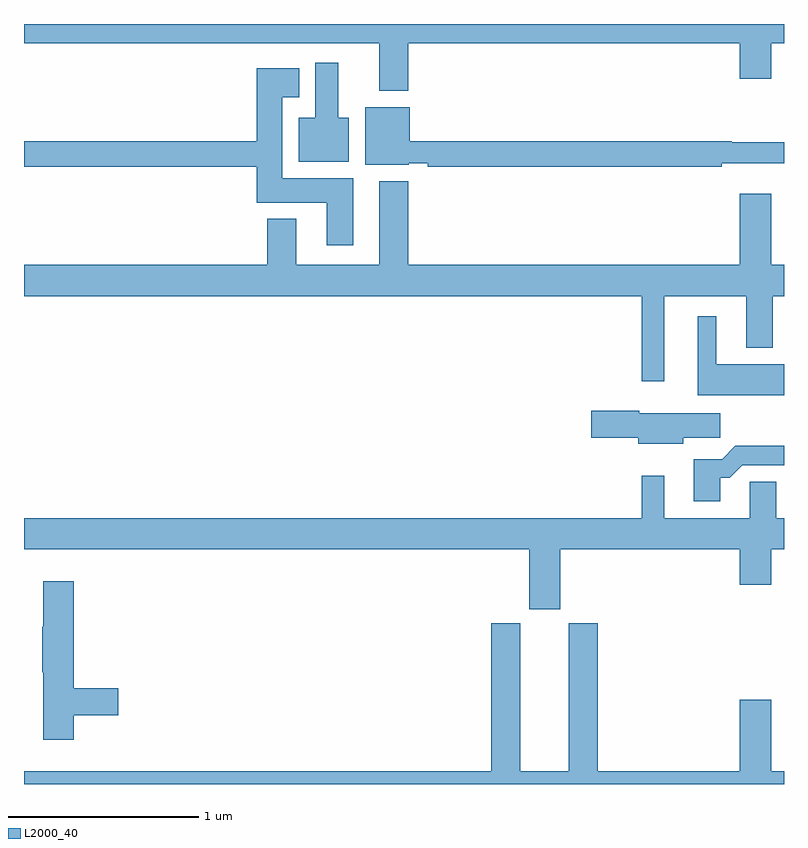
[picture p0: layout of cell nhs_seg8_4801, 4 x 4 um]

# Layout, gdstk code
import gdstk
lib = gdstk.Library(unit=1e-6, precision=1e-09)
def P(c, l, *ps):  # polygons
    for p in ps: c.add(gdstk.Polygon(p, *l))
L2000_40 = (2000, 40)

nhs_seg8_4801 = lib.new_cell('nhs_seg8_4801')
P(nhs_seg8_4801, L2000_40, [(403.022,1149.8),(404.768,1149.8),(404.768,1149.612),(404.932,1149.612),(404.932,1149.8),(405,1149.8),(405,1149.9),(401,1149.9),(401,1149.8),(402.869,1149.8),(402.869,1149.548),(403.022,1149.548)],
  [(402.709,1149.406),(402.655,1149.406),(402.655,1149.697),(402.533,1149.697),(402.533,1149.406),(402.446,1149.406),(402.446,1149.176),(402.709,1149.176)],
  [(402.733,1149.088),(402.358,1149.088),(402.358,1149.515),(402.448,1149.515),(402.448,1149.667),(402.224,1149.667),(402.224,1149.284),(401,1149.284),(401,1149.148),(402.224,1149.148),(402.224,1148.96),(402.593,1148.96),(402.593,1148.736),(402.733,1148.736)],
  [(404.672,1149.167),(405,1149.167),(405,1149.277),(404.726,1149.277),(404.726,1149.284),(403.03,1149.284),(403.03,1149.463),(402.797,1149.463),(402.797,1149.158),(403.026,1149.158),(403.026,1149.168),(403.126,1149.168),(403.126,1149.148),(404.672,1149.148)],
  [(404.371,1148.468),(404.801,1148.468),(404.801,1148.195),(404.941,1148.195),(404.941,1148.468),(405,1148.468),(405,1148.632),(404.932,1148.632),(404.932,1149.007),(404.768,1149.007),(404.768,1148.632),(403.022,1148.632),(403.022,1149.073),(402.869,1149.073),(402.869,1148.632),(402.433,1148.632),(402.433,1148.875),(402.281,1148.875),(402.281,1148.632),(401,1148.632),(401,1148.468),(404.25,1148.468),(404.25,1148.019),(404.371,1148.019)],
  [(405,1148.11),(404.644,1148.11),(404.644,1148.362),(404.546,1148.362),(404.546,1147.946),(405,1147.946)],
  [(404.47,1147.723),(404.665,1147.723),(404.665,1147.852),(404.238,1147.852),(404.238,1147.865),(403.986,1147.865),(403.986,1147.723),(404.234,1147.723),(404.234,1147.691),(404.47,1147.691)],
  [(404.665,1147.511),(404.714,1147.511),(404.781,1147.578),(405,1147.578),(405,1147.679),(404.744,1147.679),(404.674,1147.609),(404.525,1147.609),(404.525,1147.389),(404.665,1147.389)],
  [(403.822,1147.136),(404.768,1147.136),(404.768,1146.948),(404.932,1146.948),(404.932,1147.136),(405,1147.136),(405,1147.3),(404.959,1147.3),(404.959,1147.49),(404.82,1147.49),(404.82,1147.3),(404.371,1147.3),(404.371,1147.522),(404.25,1147.522),(404.25,1147.3),(401,1147.3),(401,1147.136),(403.658,1147.136),(403.658,1146.819),(403.822,1146.819)],
  [(401.261,1146.262),(401.497,1146.262),(401.497,1146.404),(401.261,1146.404),(401.261,1146.967),(401.102,1146.967),(401.102,1146.728),(401.095,1146.728),(401.095,1146.487),(401.102,1146.487),(401.102,1146.132),(401.261,1146.132)],
  [(403.868,1146.747),(403.868,1145.968),(403.612,1145.968),(403.612,1146.747),(403.46,1146.747),(403.46,1145.968),(401,1145.968),(401,1145.9),(405,1145.9),(405,1145.968),(404.932,1145.968),(404.932,1146.343),(404.768,1146.343),(404.768,1145.968),(404.021,1145.968),(404.021,1146.747)])

lib.write_gds('nhs_seg8_4801.gds')
